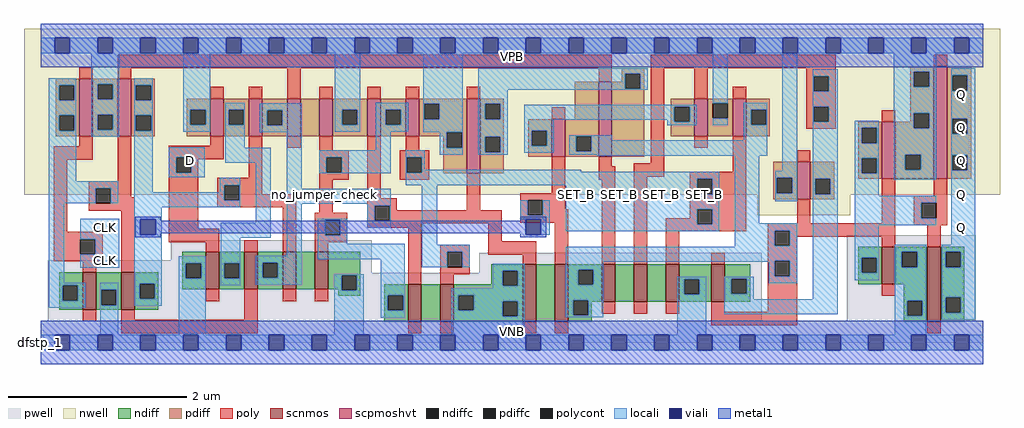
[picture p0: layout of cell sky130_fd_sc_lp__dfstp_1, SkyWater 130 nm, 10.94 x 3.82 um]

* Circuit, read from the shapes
.subckt sky130_fd_sc_lp__dfstp_1 CLK D SET_B VGND VNB VPB VPWR Q
XM1 VGND CLK n1 VNB sky130_fd_pr__nfet_01v8 w=0.42 l=0.15
XM2 n2 n1 VGND VNB sky130_fd_pr__nfet_01v8 w=0.42 l=0.15
XM3 n3 D VGND VNB sky130_fd_pr__nfet_01v8 w=0.42 l=0.15
XM4 n4 n1 n3 VNB sky130_fd_pr__nfet_01v8 w=0.42 l=0.15
XM5 n5 n2 n4 VNB sky130_fd_pr__nfet_01v8 w=0.42 l=0.15
XM6 VGND n6 n5 VNB sky130_fd_pr__nfet_01v8 w=0.42 l=0.15
XM7 n7 n4 n6 VNB sky130_fd_pr__nfet_01v8 w=0.42 l=0.15
XM8 VGND SET_B n7 VNB sky130_fd_pr__nfet_01v8 w=0.42 l=0.15
XM9 n8 n4 VGND VNB sky130_fd_pr__nfet_01v8 w=0.64 l=0.15
XM10 n9 n2 n8 VNB sky130_fd_pr__nfet_01v8 w=0.64 l=0.15
XM11 n10 n1 n9 VNB sky130_fd_pr__nfet_01v8 w=0.42 l=0.15
XM12 n11 n12 n10 VNB sky130_fd_pr__nfet_01v8 w=0.42 l=0.15
XM13 VGND SET_B n11 VNB sky130_fd_pr__nfet_01v8 w=0.42 l=0.15
XM14 n12 n9 VGND VNB sky130_fd_pr__nfet_01v8 w=0.42 l=0.15
XM15 VGND n9 n13 VNB sky130_fd_pr__nfet_01v8 w=0.42 l=0.15
XM16 Q n13 VGND VNB sky130_fd_pr__nfet_01v8 w=0.84 l=0.15
XM17 VPWR CLK n1 VPB sky130_fd_pr__pfet_01v8_hvt w=0.64 l=0.15
XM18 n2 n1 VPWR VPB sky130_fd_pr__pfet_01v8_hvt w=0.64 l=0.15
XM19 n3 D VPWR VPB sky130_fd_pr__pfet_01v8_hvt w=0.42 l=0.15
XM20 n4 n2 n3 VPB sky130_fd_pr__pfet_01v8_hvt w=0.42 l=0.15
XM21 n14 n1 n4 VPB sky130_fd_pr__pfet_01v8_hvt w=0.42 l=0.15
XM22 VPWR n6 n14 VPB sky130_fd_pr__pfet_01v8_hvt w=0.42 l=0.15
XM23 n6 n4 VPWR VPB sky130_fd_pr__pfet_01v8_hvt w=0.42 l=0.15
XM24 VPWR SET_B n6 VPB sky130_fd_pr__pfet_01v8_hvt w=0.42 l=0.15
XM25 n15 n4 VPWR VPB sky130_fd_pr__pfet_01v8_hvt w=0.84 l=0.15
XM26 n9 n2 n16 VPB sky130_fd_pr__pfet_01v8_hvt w=0.42 l=0.15
XM27 n15 n1 n9 VPB sky130_fd_pr__pfet_01v8_hvt w=0.84 l=0.15
XM28 VPWR n12 n16 VPB sky130_fd_pr__pfet_01v8_hvt w=0.42 l=0.15
XM29 n9 SET_B VPWR VPB sky130_fd_pr__pfet_01v8_hvt w=0.42 l=0.15
XM30 n12 n9 VPWR VPB sky130_fd_pr__pfet_01v8_hvt w=0.42 l=0.15
XM31 VPWR n9 n13 VPB sky130_fd_pr__pfet_01v8_hvt w=0.64 l=0.15
XM32 Q n13 VPWR VPB sky130_fd_pr__pfet_01v8_hvt w=1.26 l=0.15
.ends

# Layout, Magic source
magic
tech sky130A
magscale 1 2
<< nwell >>
rect -38 331 2150 704
rect 1606 285 1814 331
<< pwell >>
rect 291 184 742 229
rect 15 157 742 184
rect 983 157 1616 201
rect 15 49 1616 157
rect 1806 49 2096 241
rect 0 0 2112 49
<< scnmos >>
rect 94 74 124 158
rect 180 74 210 158
rect 370 119 400 203
rect 456 119 486 203
rect 542 119 572 203
rect 614 119 644 203
rect 823 47 853 131
rect 895 47 925 131
rect 1080 47 1110 175
rect 1152 47 1182 175
rect 1257 91 1287 175
rect 1329 91 1359 175
rect 1401 91 1431 175
rect 1503 91 1533 175
rect 1885 131 1915 215
rect 1987 47 2017 215
<< scpmoshvt >>
rect 86 463 116 591
rect 172 463 202 591
rect 380 463 410 547
rect 466 463 496 547
rect 552 463 582 547
rect 624 463 654 547
rect 732 463 762 547
rect 818 463 848 547
rect 955 379 985 547
rect 1145 417 1175 501
rect 1250 417 1280 585
rect 1465 463 1495 547
rect 1551 463 1581 547
rect 1695 321 1725 405
rect 1885 367 1915 495
rect 2002 367 2032 619
<< ndiff >>
rect 317 178 370 203
rect 41 128 94 158
rect 41 94 49 128
rect 83 94 94 128
rect 41 74 94 94
rect 124 118 180 158
rect 124 84 135 118
rect 169 84 180 118
rect 124 74 180 84
rect 210 132 263 158
rect 210 98 221 132
rect 255 98 263 132
rect 317 144 325 178
rect 359 144 370 178
rect 317 119 370 144
rect 400 178 456 203
rect 400 144 411 178
rect 445 144 456 178
rect 400 119 456 144
rect 486 179 542 203
rect 486 145 497 179
rect 531 145 542 179
rect 486 119 542 145
rect 572 119 614 203
rect 644 151 716 203
rect 644 119 674 151
rect 210 74 263 98
rect 666 117 674 119
rect 708 117 716 151
rect 1009 161 1080 175
rect 1009 131 1035 161
rect 666 105 716 117
rect 770 106 823 131
rect 770 72 778 106
rect 812 72 823 106
rect 770 47 823 72
rect 853 47 895 131
rect 925 127 1035 131
rect 1069 127 1080 161
rect 925 106 1080 127
rect 925 72 936 106
rect 970 93 1080 106
rect 970 72 1035 93
rect 925 59 1035 72
rect 1069 59 1080 93
rect 925 47 1080 59
rect 1110 47 1152 175
rect 1182 163 1257 175
rect 1182 129 1204 163
rect 1238 129 1257 163
rect 1182 95 1257 129
rect 1182 61 1193 95
rect 1227 91 1257 95
rect 1287 91 1329 175
rect 1359 91 1401 175
rect 1431 142 1503 175
rect 1431 108 1442 142
rect 1476 108 1503 142
rect 1431 91 1503 108
rect 1533 143 1590 175
rect 1533 109 1548 143
rect 1582 109 1590 143
rect 1533 91 1590 109
rect 1227 61 1235 91
rect 1832 190 1885 215
rect 1832 156 1840 190
rect 1874 156 1885 190
rect 1832 131 1885 156
rect 1915 203 1987 215
rect 1915 169 1930 203
rect 1964 169 1987 203
rect 1915 131 1987 169
rect 1182 47 1235 61
rect 1934 94 1987 131
rect 1934 60 1942 94
rect 1976 60 1987 94
rect 1934 47 1987 60
rect 2017 203 2070 215
rect 2017 169 2028 203
rect 2062 169 2070 203
rect 2017 101 2070 169
rect 2017 67 2028 101
rect 2062 67 2070 101
rect 2017 47 2070 67
<< pdiff >>
rect 33 577 86 591
rect 33 543 41 577
rect 75 543 86 577
rect 33 509 86 543
rect 33 475 41 509
rect 75 475 86 509
rect 33 463 86 475
rect 116 579 172 591
rect 116 545 127 579
rect 161 545 172 579
rect 116 511 172 545
rect 116 477 127 511
rect 161 477 172 511
rect 116 463 172 477
rect 202 577 255 591
rect 202 543 213 577
rect 247 543 255 577
rect 1302 603 1352 615
rect 1302 585 1310 603
rect 202 509 255 543
rect 202 475 213 509
rect 247 475 255 509
rect 202 463 255 475
rect 327 522 380 547
rect 327 488 335 522
rect 369 488 380 522
rect 327 463 380 488
rect 410 522 466 547
rect 410 488 421 522
rect 455 488 466 522
rect 410 463 466 488
rect 496 521 552 547
rect 496 487 507 521
rect 541 487 552 521
rect 496 463 552 487
rect 582 463 624 547
rect 654 522 732 547
rect 654 488 675 522
rect 709 488 732 522
rect 654 463 732 488
rect 762 522 818 547
rect 762 488 773 522
rect 807 488 818 522
rect 762 463 818 488
rect 848 535 955 547
rect 848 501 859 535
rect 893 501 955 535
rect 848 471 955 501
rect 848 463 910 471
rect 902 437 910 463
rect 944 437 955 471
rect 902 379 955 437
rect 985 535 1038 547
rect 985 501 996 535
rect 1030 501 1038 535
rect 1197 501 1250 585
rect 985 461 1038 501
rect 985 427 996 461
rect 1030 427 1038 461
rect 985 379 1038 427
rect 1092 475 1145 501
rect 1092 441 1100 475
rect 1134 441 1145 475
rect 1092 417 1145 441
rect 1175 463 1250 501
rect 1175 429 1200 463
rect 1234 429 1250 463
rect 1175 417 1250 429
rect 1280 569 1310 585
rect 1344 569 1352 603
rect 1280 417 1352 569
rect 1412 529 1465 547
rect 1412 495 1420 529
rect 1454 495 1465 529
rect 1412 463 1465 495
rect 1495 537 1551 547
rect 1495 503 1506 537
rect 1540 503 1551 537
rect 1495 463 1551 503
rect 1581 522 1634 547
rect 1581 488 1592 522
rect 1626 488 1634 522
rect 1581 463 1634 488
rect 1949 607 2002 619
rect 1949 573 1957 607
rect 1991 573 2002 607
rect 1949 514 2002 573
rect 1949 495 1957 514
rect 1832 481 1885 495
rect 1832 447 1840 481
rect 1874 447 1885 481
rect 1832 413 1885 447
rect 1642 369 1695 405
rect 1642 335 1650 369
rect 1684 335 1695 369
rect 1642 321 1695 335
rect 1725 367 1778 405
rect 1832 379 1840 413
rect 1874 379 1885 413
rect 1832 367 1885 379
rect 1915 480 1957 495
rect 1991 480 2002 514
rect 1915 421 2002 480
rect 1915 387 1938 421
rect 1972 387 2002 421
rect 1915 367 2002 387
rect 2032 599 2085 619
rect 2032 565 2043 599
rect 2077 565 2085 599
rect 2032 502 2085 565
rect 2032 468 2043 502
rect 2077 468 2085 502
rect 2032 420 2085 468
rect 2032 386 2043 420
rect 2077 386 2085 420
rect 2032 367 2085 386
rect 1725 333 1736 367
rect 1770 333 1778 367
rect 1725 321 1778 333
<< ndiffc >>
rect 49 94 83 128
rect 135 84 169 118
rect 221 98 255 132
rect 325 144 359 178
rect 411 144 445 178
rect 497 145 531 179
rect 674 117 708 151
rect 778 72 812 106
rect 1035 127 1069 161
rect 936 72 970 106
rect 1035 59 1069 93
rect 1204 129 1238 163
rect 1193 61 1227 95
rect 1442 108 1476 142
rect 1548 109 1582 143
rect 1840 156 1874 190
rect 1930 169 1964 203
rect 1942 60 1976 94
rect 2028 169 2062 203
rect 2028 67 2062 101
<< pdiffc >>
rect 41 543 75 577
rect 41 475 75 509
rect 127 545 161 579
rect 127 477 161 511
rect 213 543 247 577
rect 213 475 247 509
rect 335 488 369 522
rect 421 488 455 522
rect 507 487 541 521
rect 675 488 709 522
rect 773 488 807 522
rect 859 501 893 535
rect 910 437 944 471
rect 996 501 1030 535
rect 996 427 1030 461
rect 1100 441 1134 475
rect 1200 429 1234 463
rect 1310 569 1344 603
rect 1420 495 1454 529
rect 1506 503 1540 537
rect 1592 488 1626 522
rect 1957 573 1991 607
rect 1840 447 1874 481
rect 1650 335 1684 369
rect 1840 379 1874 413
rect 1957 480 1991 514
rect 1938 387 1972 421
rect 2043 565 2077 599
rect 2043 468 2077 502
rect 2043 386 2077 420
rect 1736 333 1770 367
<< poly >>
rect 86 591 116 617
rect 172 615 1280 645
rect 1367 615 1782 645
rect 2002 619 2032 645
rect 172 591 202 615
rect 380 547 410 573
rect 466 547 496 573
rect 552 547 582 615
rect 1250 585 1280 615
rect 624 547 654 573
rect 732 547 762 573
rect 818 547 848 573
rect 955 547 985 573
rect 86 440 116 463
rect 29 410 116 440
rect 29 248 59 410
rect 172 362 202 463
rect 380 441 410 463
rect 107 346 202 362
rect 107 312 123 346
rect 157 326 202 346
rect 287 415 410 441
rect 287 381 303 415
rect 337 411 410 415
rect 337 381 353 411
rect 157 312 210 326
rect 107 296 210 312
rect 29 232 138 248
rect 29 198 88 232
rect 122 198 138 232
rect 29 182 138 198
rect 94 158 124 182
rect 180 158 210 296
rect 287 255 353 381
rect 466 369 496 463
rect 552 437 582 463
rect 395 353 496 369
rect 395 319 411 353
rect 445 333 496 353
rect 624 431 654 463
rect 624 415 690 431
rect 624 381 640 415
rect 674 381 690 415
rect 624 365 690 381
rect 445 319 572 333
rect 395 303 572 319
rect 287 225 400 255
rect 370 203 400 225
rect 456 203 486 229
rect 542 203 572 303
rect 624 291 654 365
rect 732 323 762 463
rect 818 431 848 463
rect 804 415 870 431
rect 804 381 820 415
rect 854 381 870 415
rect 804 365 870 381
rect 1145 501 1175 527
rect 732 307 798 323
rect 614 275 687 291
rect 614 241 637 275
rect 671 241 687 275
rect 732 273 748 307
rect 782 297 798 307
rect 955 297 985 379
rect 1145 335 1175 417
rect 1250 395 1280 417
rect 1367 402 1397 615
rect 1465 547 1495 615
rect 1716 597 1782 615
rect 1551 547 1581 573
rect 1716 563 1732 597
rect 1766 563 1782 597
rect 1716 529 1782 563
rect 1716 495 1732 529
rect 1766 495 1782 529
rect 1885 495 1915 521
rect 1716 479 1782 495
rect 1465 437 1495 463
rect 1250 365 1287 395
rect 1075 319 1175 335
rect 782 273 1033 297
rect 732 267 1033 273
rect 1075 285 1091 319
rect 1125 299 1175 319
rect 1125 285 1182 299
rect 1075 269 1182 285
rect 732 257 853 267
rect 614 225 687 241
rect 614 203 644 225
rect 370 93 400 119
rect 94 48 124 74
rect 180 51 210 74
rect 456 51 486 119
rect 542 93 572 119
rect 614 93 644 119
rect 823 131 853 257
rect 1003 227 1033 267
rect 895 203 961 219
rect 895 169 911 203
rect 945 169 961 203
rect 1003 197 1110 227
rect 1080 175 1110 197
rect 1152 175 1182 269
rect 1257 175 1287 365
rect 1329 372 1397 402
rect 1551 383 1581 463
rect 1695 405 1725 431
rect 1329 175 1359 372
rect 1455 367 1581 383
rect 1455 333 1471 367
rect 1505 333 1581 367
rect 1455 299 1581 333
rect 1455 279 1471 299
rect 1401 265 1471 279
rect 1505 265 1581 299
rect 1695 267 1725 321
rect 1885 267 1915 367
rect 2002 329 2032 367
rect 1401 249 1581 265
rect 1629 251 1915 267
rect 1957 313 2032 329
rect 1957 279 1973 313
rect 2007 279 2032 313
rect 1957 263 2032 279
rect 1401 175 1431 249
rect 1629 217 1645 251
rect 1679 237 1915 251
rect 1679 217 1695 237
rect 1503 175 1533 201
rect 1629 183 1695 217
rect 1885 215 1915 237
rect 1987 215 2017 263
rect 895 153 961 169
rect 895 131 925 153
rect 180 21 486 51
rect 1629 149 1645 183
rect 1679 149 1695 183
rect 1257 65 1287 91
rect 1329 65 1359 91
rect 1401 65 1431 91
rect 1503 69 1533 91
rect 1629 69 1695 149
rect 1885 105 1915 131
rect 823 21 853 47
rect 895 21 925 47
rect 1080 21 1110 47
rect 1152 21 1182 47
rect 1503 39 1695 69
rect 1987 21 2017 47
<< polycont >>
rect 123 312 157 346
rect 303 381 337 415
rect 88 198 122 232
rect 411 319 445 353
rect 640 381 674 415
rect 820 381 854 415
rect 637 241 671 275
rect 748 273 782 307
rect 1732 563 1766 597
rect 1732 495 1766 529
rect 1091 285 1125 319
rect 911 169 945 203
rect 1471 333 1505 367
rect 1471 265 1505 299
rect 1973 279 2007 313
rect 1645 217 1679 251
rect 1645 149 1679 183
<< locali >>
rect 0 649 31 683
rect 65 649 127 683
rect 161 649 223 683
rect 257 649 319 683
rect 353 649 415 683
rect 449 649 511 683
rect 545 649 607 683
rect 641 649 703 683
rect 737 649 799 683
rect 833 649 895 683
rect 929 649 991 683
rect 1025 649 1087 683
rect 1121 649 1183 683
rect 1217 649 1279 683
rect 1313 649 1375 683
rect 1409 649 1471 683
rect 1505 649 1567 683
rect 1601 649 1663 683
rect 1697 649 1759 683
rect 1793 649 1855 683
rect 1889 649 1951 683
rect 1985 649 2047 683
rect 2081 649 2112 683
rect 18 577 79 593
rect 18 543 41 577
rect 75 543 79 577
rect 18 509 79 543
rect 18 475 41 509
rect 75 475 79 509
rect 18 362 79 475
rect 113 579 175 649
rect 113 545 127 579
rect 161 545 175 579
rect 113 511 175 545
rect 113 477 127 511
rect 161 477 175 511
rect 113 461 175 477
rect 209 577 251 593
rect 209 543 213 577
rect 247 543 251 577
rect 209 509 251 543
rect 209 475 213 509
rect 247 475 251 509
rect 18 346 173 362
rect 18 312 123 346
rect 157 312 173 346
rect 209 337 251 475
rect 319 522 379 649
rect 319 488 335 522
rect 369 488 379 522
rect 319 472 379 488
rect 413 522 457 538
rect 413 488 421 522
rect 455 488 457 522
rect 287 415 367 438
rect 287 381 303 415
rect 337 381 367 415
rect 413 437 457 488
rect 491 521 585 537
rect 491 487 507 521
rect 541 487 585 521
rect 491 471 585 487
rect 659 522 716 649
rect 659 488 675 522
rect 709 488 716 522
rect 659 472 716 488
rect 750 522 823 538
rect 750 488 773 522
rect 807 488 823 522
rect 750 472 823 488
rect 857 535 946 649
rect 857 501 859 535
rect 893 501 946 535
rect 413 403 515 437
rect 287 371 367 381
rect 401 353 447 369
rect 401 337 411 353
rect 209 319 411 337
rect 445 319 447 353
rect 18 134 52 312
rect 209 303 447 319
rect 88 232 175 278
rect 122 198 175 232
rect 88 168 175 198
rect 209 276 271 303
rect 209 242 223 276
rect 257 242 271 276
rect 481 269 515 403
rect 18 128 99 134
rect 18 94 49 128
rect 83 94 99 128
rect 18 78 99 94
rect 133 118 173 134
rect 133 84 135 118
rect 169 84 173 118
rect 133 17 173 84
rect 209 132 271 242
rect 403 235 515 269
rect 551 345 585 471
rect 750 431 784 472
rect 857 471 946 501
rect 894 437 910 471
rect 944 437 946 471
rect 624 415 784 431
rect 624 381 640 415
rect 674 381 784 415
rect 624 379 784 381
rect 818 415 860 431
rect 894 421 946 437
rect 980 603 1360 615
rect 980 569 1310 603
rect 1344 569 1360 603
rect 980 567 1360 569
rect 980 535 1046 567
rect 980 501 996 535
rect 1030 501 1046 535
rect 1506 537 1540 649
rect 980 461 1046 501
rect 980 427 996 461
rect 1030 427 1046 461
rect 980 421 1046 427
rect 1084 529 1470 533
rect 1084 499 1420 529
rect 1084 475 1150 499
rect 1404 495 1420 499
rect 1454 495 1470 529
rect 1404 487 1470 495
rect 1506 487 1540 503
rect 1576 522 1628 538
rect 1576 488 1592 522
rect 1626 488 1628 522
rect 1084 441 1100 475
rect 1134 441 1150 475
rect 1084 425 1150 441
rect 1184 463 1281 465
rect 1184 429 1200 463
rect 1234 453 1281 463
rect 1576 453 1628 488
rect 1234 429 1628 453
rect 1184 421 1628 429
rect 1247 419 1628 421
rect 818 381 820 415
rect 854 387 860 415
rect 854 383 1211 387
rect 854 381 1521 383
rect 818 367 1521 381
rect 818 353 1471 367
rect 551 311 784 345
rect 209 98 221 132
rect 255 98 271 132
rect 209 82 271 98
rect 309 178 369 194
rect 309 144 325 178
rect 359 144 369 178
rect 309 17 369 144
rect 403 178 447 235
rect 551 195 585 311
rect 732 307 784 311
rect 403 144 411 178
rect 445 144 447 178
rect 403 128 447 144
rect 481 179 585 195
rect 621 275 687 277
rect 621 241 637 275
rect 671 241 687 275
rect 732 273 748 307
rect 782 273 784 307
rect 732 257 784 273
rect 621 221 687 241
rect 621 187 816 221
rect 481 145 497 179
rect 531 145 585 179
rect 481 129 585 145
rect 658 151 724 153
rect 658 117 674 151
rect 708 117 724 151
rect 658 17 724 117
rect 762 106 816 187
rect 854 219 888 353
rect 1177 333 1471 353
rect 1505 333 1521 367
rect 1075 285 1091 319
rect 1125 285 1141 319
rect 1075 276 1141 285
rect 1121 242 1141 276
rect 1177 299 1521 333
rect 1177 265 1471 299
rect 1505 265 1521 299
rect 1177 249 1521 265
rect 1555 267 1610 419
rect 1662 385 1696 649
rect 1646 369 1696 385
rect 1646 335 1650 369
rect 1684 335 1696 369
rect 1646 317 1696 335
rect 1730 597 1786 613
rect 1730 563 1732 597
rect 1766 563 1786 597
rect 1730 529 1786 563
rect 1730 495 1732 529
rect 1766 495 1786 529
rect 1912 607 2007 649
rect 1912 573 1957 607
rect 1991 573 2007 607
rect 1912 514 2007 573
rect 1730 367 1786 495
rect 1730 333 1736 367
rect 1770 333 1786 367
rect 1555 251 1695 267
rect 854 203 961 219
rect 1555 217 1645 251
rect 1679 217 1695 251
rect 1555 215 1695 217
rect 854 169 911 203
rect 945 169 961 203
rect 1177 183 1695 215
rect 1177 181 1645 183
rect 1013 161 1085 177
rect 1013 127 1035 161
rect 1069 127 1085 161
rect 1013 122 1085 127
rect 762 72 778 106
rect 812 72 816 106
rect 762 56 816 72
rect 920 106 1085 122
rect 920 72 936 106
rect 970 93 1085 106
rect 970 72 1035 93
rect 920 59 1035 72
rect 1069 59 1085 93
rect 920 17 1085 59
rect 1177 163 1261 181
rect 1177 129 1204 163
rect 1238 129 1261 163
rect 1632 149 1645 181
rect 1679 149 1695 183
rect 1177 95 1261 129
rect 1177 61 1193 95
rect 1227 61 1261 95
rect 1177 57 1261 61
rect 1426 142 1492 147
rect 1426 108 1442 142
rect 1476 108 1492 142
rect 1426 17 1492 108
rect 1532 143 1598 147
rect 1532 109 1548 143
rect 1582 109 1598 143
rect 1632 133 1695 149
rect 1532 97 1598 109
rect 1730 97 1786 333
rect 1824 481 1878 497
rect 1824 447 1840 481
rect 1874 447 1878 481
rect 1824 413 1878 447
rect 1824 379 1840 413
rect 1874 379 1878 413
rect 1824 329 1878 379
rect 1912 480 1957 514
rect 1991 480 2007 514
rect 1912 421 2007 480
rect 1912 387 1938 421
rect 1972 387 2007 421
rect 1912 365 2007 387
rect 2041 599 2095 615
rect 2041 565 2043 599
rect 2077 565 2095 599
rect 2041 502 2095 565
rect 2041 468 2043 502
rect 2077 468 2095 502
rect 2041 420 2095 468
rect 2041 386 2043 420
rect 2077 386 2095 420
rect 1824 313 2007 329
rect 1824 279 1973 313
rect 1824 263 2007 279
rect 1824 190 1878 263
rect 2041 219 2095 386
rect 1824 156 1840 190
rect 1874 156 1878 190
rect 1824 140 1878 156
rect 1914 203 1985 219
rect 1914 169 1930 203
rect 1964 169 1985 203
rect 1532 63 1786 97
rect 1914 94 1985 169
rect 1914 60 1942 94
rect 1976 60 1985 94
rect 1914 17 1985 60
rect 2019 203 2095 219
rect 2019 169 2028 203
rect 2062 169 2095 203
rect 2019 101 2095 169
rect 2019 67 2028 101
rect 2062 67 2095 101
rect 2019 51 2095 67
rect 0 -17 31 17
rect 65 -17 127 17
rect 161 -17 223 17
rect 257 -17 319 17
rect 353 -17 415 17
rect 449 -17 511 17
rect 545 -17 607 17
rect 641 -17 703 17
rect 737 -17 799 17
rect 833 -17 895 17
rect 929 -17 991 17
rect 1025 -17 1087 17
rect 1121 -17 1183 17
rect 1217 -17 1279 17
rect 1313 -17 1375 17
rect 1409 -17 1471 17
rect 1505 -17 1567 17
rect 1601 -17 1663 17
rect 1697 -17 1759 17
rect 1793 -17 1855 17
rect 1889 -17 1951 17
rect 1985 -17 2047 17
rect 2081 -17 2112 17
<< viali >>
rect 31 649 65 683
rect 127 649 161 683
rect 223 649 257 683
rect 319 649 353 683
rect 415 649 449 683
rect 511 649 545 683
rect 607 649 641 683
rect 703 649 737 683
rect 799 649 833 683
rect 895 649 929 683
rect 991 649 1025 683
rect 1087 649 1121 683
rect 1183 649 1217 683
rect 1279 649 1313 683
rect 1375 649 1409 683
rect 1471 649 1505 683
rect 1567 649 1601 683
rect 1663 649 1697 683
rect 1759 649 1793 683
rect 1855 649 1889 683
rect 1951 649 1985 683
rect 2047 649 2081 683
rect 223 242 257 276
rect 1087 242 1121 276
rect 31 -17 65 17
rect 127 -17 161 17
rect 223 -17 257 17
rect 319 -17 353 17
rect 415 -17 449 17
rect 511 -17 545 17
rect 607 -17 641 17
rect 703 -17 737 17
rect 799 -17 833 17
rect 895 -17 929 17
rect 991 -17 1025 17
rect 1087 -17 1121 17
rect 1183 -17 1217 17
rect 1279 -17 1313 17
rect 1375 -17 1409 17
rect 1471 -17 1505 17
rect 1567 -17 1601 17
rect 1663 -17 1697 17
rect 1759 -17 1793 17
rect 1855 -17 1889 17
rect 1951 -17 1985 17
rect 2047 -17 2081 17
<< metal1 >>
rect 0 683 2112 715
rect 0 649 31 683
rect 65 649 127 683
rect 161 649 223 683
rect 257 649 319 683
rect 353 649 415 683
rect 449 649 511 683
rect 545 649 607 683
rect 641 649 703 683
rect 737 649 799 683
rect 833 649 895 683
rect 929 649 991 683
rect 1025 649 1087 683
rect 1121 649 1183 683
rect 1217 649 1279 683
rect 1313 649 1375 683
rect 1409 649 1471 683
rect 1505 649 1567 683
rect 1601 649 1663 683
rect 1697 649 1759 683
rect 1793 649 1855 683
rect 1889 649 1951 683
rect 1985 649 2047 683
rect 2081 649 2112 683
rect 0 617 2112 649
rect 211 276 269 282
rect 211 242 223 276
rect 257 273 269 276
rect 1075 276 1133 282
rect 1075 273 1087 276
rect 257 245 1087 273
rect 257 242 269 245
rect 211 236 269 242
rect 1075 242 1087 245
rect 1121 242 1133 276
rect 1075 236 1133 242
rect 0 17 2112 49
rect 0 -17 31 17
rect 65 -17 127 17
rect 161 -17 223 17
rect 257 -17 319 17
rect 353 -17 415 17
rect 449 -17 511 17
rect 545 -17 607 17
rect 641 -17 703 17
rect 737 -17 799 17
rect 833 -17 895 17
rect 929 -17 991 17
rect 1025 -17 1087 17
rect 1121 -17 1183 17
rect 1217 -17 1279 17
rect 1313 -17 1375 17
rect 1409 -17 1471 17
rect 1505 -17 1567 17
rect 1601 -17 1663 17
rect 1697 -17 1759 17
rect 1793 -17 1855 17
rect 1889 -17 1951 17
rect 1985 -17 2047 17
rect 2081 -17 2112 17
rect 0 -49 2112 -17
<< labels >>
flabel pwell s 0 0 2112 49 0 FreeSans 200 0 0 0 VNB
port 5 nsew ground bidirectional
flabel nwell s 0 617 2112 666 0 FreeSans 200 0 0 0 VPB
port 6 nsew power bidirectional
rlabel comment s 0 0 0 0 4 dfstp_1
flabel comment s 636 331 636 331 0 FreeSans 200 90 0 0 no_jumper_check
flabel metal1 s 0 617 2112 666 0 FreeSans 340 0 0 0 VPWR
port 7 nsew power bidirectional
flabel metal1 s 0 0 2112 49 0 FreeSans 340 0 0 0 VGND
port 4 nsew ground bidirectional
flabel locali s 127 168 161 202 0 FreeSans 340 0 0 0 CLK
port 1 nsew clock input
flabel locali s 127 242 161 276 0 FreeSans 340 0 0 0 CLK
port 1 nsew clock input
flabel locali s 319 390 353 424 0 FreeSans 340 0 0 0 D
port 2 nsew signal input
flabel locali s 1183 316 1217 350 0 FreeSans 340 0 0 0 SET_B
port 3 nsew signal input
flabel locali s 1279 316 1313 350 0 FreeSans 340 0 0 0 SET_B
port 3 nsew signal input
flabel locali s 1375 316 1409 350 0 FreeSans 340 0 0 0 SET_B
port 3 nsew signal input
flabel locali s 1471 316 1505 350 0 FreeSans 340 0 0 0 SET_B
port 3 nsew signal input
flabel locali s 2047 242 2081 276 0 FreeSans 340 0 0 0 Q
port 8 nsew signal output
flabel locali s 2047 316 2081 350 0 FreeSans 340 0 0 0 Q
port 8 nsew signal output
flabel locali s 2047 390 2081 424 0 FreeSans 340 0 0 0 Q
port 8 nsew signal output
flabel locali s 2047 464 2081 498 0 FreeSans 340 0 0 0 Q
port 8 nsew signal output
flabel locali s 2047 538 2081 572 0 FreeSans 340 0 0 0 Q
port 8 nsew signal output
<< properties >>
string LEFsite unit
string LEFclass CORE
string FIXED_BBOX 0 0 2112 666
string GDS_FILE $PDKPATH/libs.ref/sky130_fd_sc_lp/gds/sky130_fd_sc_lp.gds
string LEFsymmetry X Y R90
string GDS_END 89728
string GDS_START 73662
<< end >>
